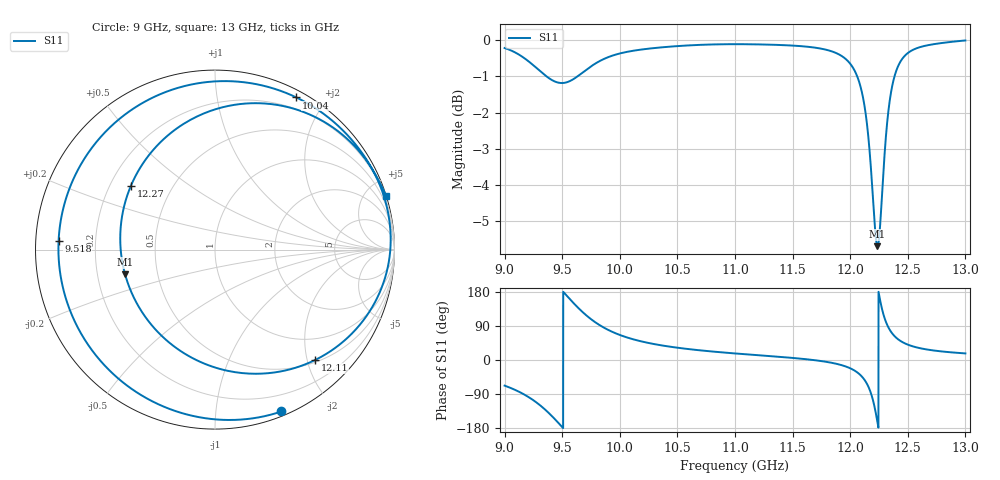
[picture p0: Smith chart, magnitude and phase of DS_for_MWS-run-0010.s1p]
! TOUCHSTONE file generated by CST DESIGN STUDIO
! Date and time: Wed Feb  5 13:19:44 2025
! Project name: C:\Work\MatlabApps\UnitCellOptimizationMatlab\CST\unitcell.cst
! Tree item: Tasks\Sweep1\SPara1\S-Parameters
! Header version: 2024
! Port assignment regex: !\s*Touchstone port\s*([0-9]+)\s*=\s*(CST MWS port|CST DES external port|CST DES block port)\s*(.+)\s* \(\"(.*)\"\)(\s*mode\s*([0-9]+))?.*
! Touchstone port assignment:
! Touchstone port 1 = CST DES external port 1 ("")
# GHz S MA R 50
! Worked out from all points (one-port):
!   4001 points, 9 GHz to 13 GHz, reference 50 ohm
!   lowest |S11| = -5.7 dB at 12.24 GHz (marker M1), VSWR 3.16, Z = 16.1 - j6.06 ohm
!   |S11| at or under -10 dB: nowhere
!   S11 on the Smith chart (normalised r, x): 9 GHz: 0.04, -1.49; 9.518 GHz: 0.07, +0.03; 10.04 GHz: 0.07, +1.67; 12.11 GHz: 0.54, -2.14; 12.27 GHz: 0.29, +0.31; 13 GHz: 0.03, +6.54
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9  0.9748 -67.7
9.163  0.9459 -89.8
9.282  0.9135 -113.3
9.386  0.8856 -140.6
9.5  0.8723 -177.0
9.518  0.8728 176.9
9.633  0.891 139.3
9.731  0.9152 112.3
9.843  0.9384 88.7
10  0.9581 66.1
10.039  0.9613 61.8
10.236  0.9723 45.8
10.5  0.9808 32.4
11  0.9868 17.3
11.5  0.9824 5.5
11.807  0.9681 -5.6
12  0.9275 -21.8
12.113  0.8303 -47.8
12.184  0.652 -91.3
12.21  0.565 -121.7
12.237  0.5196 -164.6
12.27  0.5883 142.7
12.303  0.7121 106.4
12.34  0.818 81.4
12.408  0.9141 56.5
12.5  0.9593 40.6
12.674  0.9836 27.3
13  0.9985 17.4
